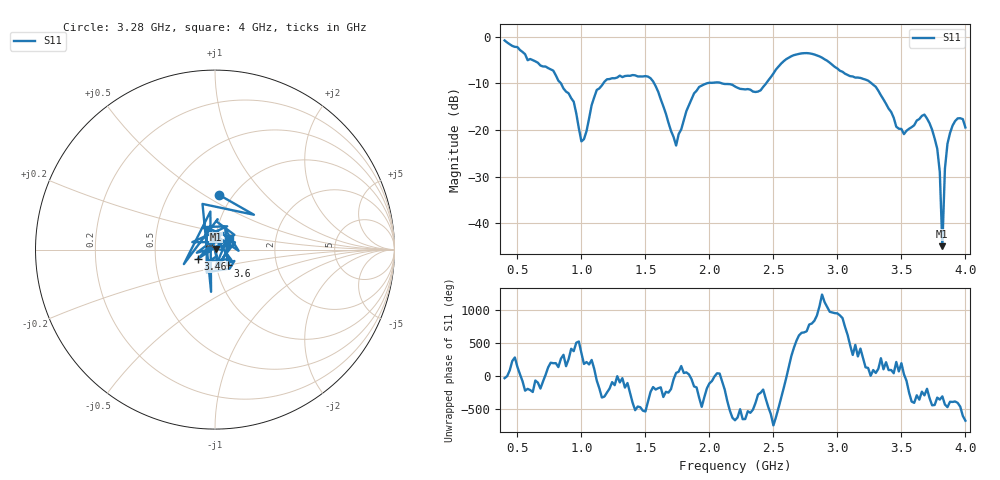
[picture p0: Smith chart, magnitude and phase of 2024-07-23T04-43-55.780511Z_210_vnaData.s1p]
!Created with skrf (http://scikit-rf.org).
# Hz S RI R 50.0
!freq ReS11 ImS11
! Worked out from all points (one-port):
!   181 points, 400 MHz to 4 GHz, reference 50 ohm
!   lowest |S11| = -44.9 dB at 3.82 GHz (marker M1), VSWR 1.01, Z = 50.4 + j0.42 ohm
!   |S11| at or under -10 dB: 1.569 GHz to 1.977 GHz (408.4 MHz wide, 23 % of centre); 2.099 GHz to 2.443 GHz (343.6 MHz wide, 15.1 % of centre); 3.268 GHz to end of sweep (the widest 3 of 4)
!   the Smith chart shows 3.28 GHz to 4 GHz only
!   S11 on the Smith chart (normalised r, x): 3.28 GHz: 0.86, +0.58; 3.46 GHz: 0.82, -0.09; 3.6 GHz: 1.13, -0.20; 4 GHz: 1.17, +0.16
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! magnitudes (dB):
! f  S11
! 400 MHz  -0.8
! 780 MHz  -7.2
! 860 MHz  -11.1
! 940 MHz  -13.9
! 1 GHz  -22.4
! 1.12 GHz  -11.4
! 1.3 GHz  -8.3
! 1.54 GHz  -8.9
! 1.74 GHz  -23.3
! 1.76 GHz  -20.9
! 1.92 GHz  -10.7
! 2.2 GHz  -10.7
! 2.4 GHz  -11.5
! 2.66 GHz  -3.9
! 2.86 GHz  -4.2
! 3.1 GHz  -8.4
! 3.28 GHz  -10.3
! 3.46 GHz  -19.3
! 3.56 GHz  -19.7
! 3.6 GHz  -19.0
! 3.68 GHz  -16.7
! 3.78 GHz  -24.0
! 3.8 GHz  -29.0
! 3.82 GHz  -44.9
! 3.84 GHz  -28.3
! 3.86 GHz  -22.9
! 3.94 GHz  -17.5
! 4 GHz  -19.4
